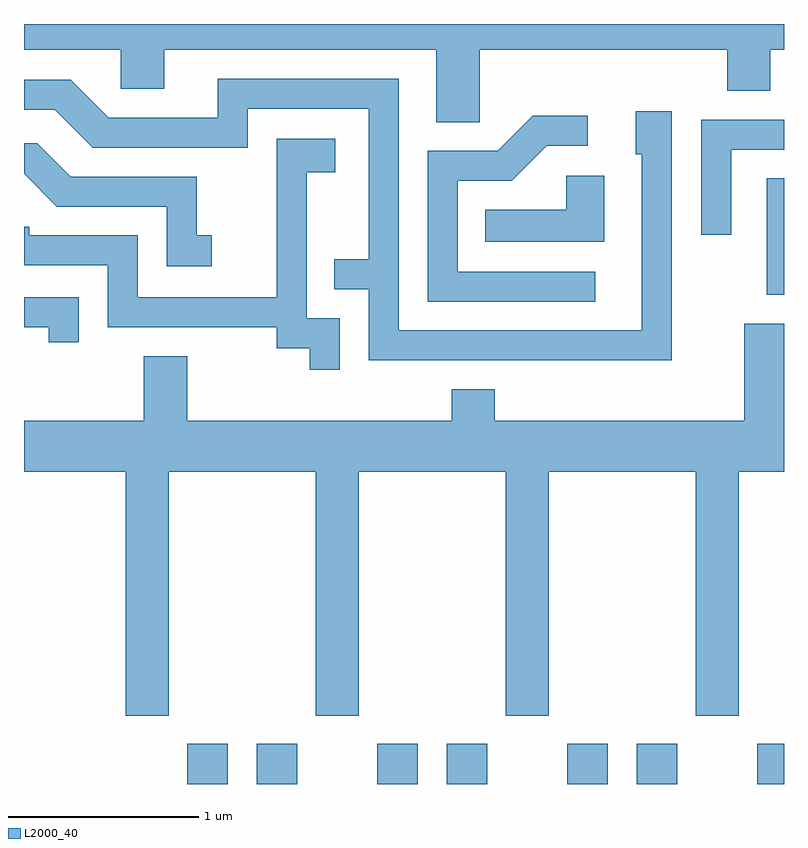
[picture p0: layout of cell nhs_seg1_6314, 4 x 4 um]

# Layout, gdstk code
import gdstk
lib = gdstk.Library(unit=1e-6, precision=1e-09)
def R(c, l, rs):  # rectangles x0, y0, x1, y1
    for r in rs: c.add(gdstk.rectangle(r[:2], r[2:], *l))
def P(c, l, *ps):  # polygons
    for p in ps: c.add(gdstk.Polygon(p, *l))
L2000_40 = (2000, 40)

nhs_seg1_6314 = lib.new_cell('nhs_seg1_6314')
R(nhs_seg1_6314, L2000_40, [(376.471,895.712,376.684,895.924), (376.836,895.712,377.049,895.924), (377.471,895.712,377.684,895.924), (377.836,895.712,378.049,895.924), (378.471,895.712,378.684,895.924), (378.836,895.712,379.049,895.924), (379.471,895.712,379.611,895.924), (379.521,898.286,379.611,898.899)])
P(nhs_seg1_6314, L2000_40, [(378.009,899.576),(379.311,899.576),(379.311,899.361),(379.539,899.361),(379.539,899.576),(379.611,899.576),(379.611,899.712),(375.611,899.712),(375.611,899.576),(376.121,899.576),(376.121,899.371),(376.349,899.371),(376.349,899.576),(377.781,899.576),(377.781,899.196),(378.009,899.196)],
  [(379.019,899.254),(378.831,899.254),(378.831,899.026),(378.861,899.026),(378.861,898.099),(377.584,898.099),(377.584,899.424),(376.631,899.424),(376.631,899.219),(376.057,899.219),(375.857,899.419),(375.611,899.419),(375.611,899.261),(375.774,899.261),(375.974,899.061),(376.789,899.061),(376.789,899.266),(377.426,899.266),(377.426,898.474),(377.243,898.474),(377.243,898.316),(377.426,898.316),(377.426,897.941),(379.019,897.941)],
  [(378.618,898.409),(377.894,898.409),(377.894,898.886),(378.177,898.886),(378.362,899.071),(378.578,899.071),(378.578,899.229),(378.289,899.229),(378.104,899.044),(377.736,899.044),(377.736,898.251),(378.618,898.251)],
  [(379.334,899.051),(379.611,899.051),(379.611,899.209),(379.176,899.209),(379.176,898.603),(379.334,898.603)],
  [(377.274,898.164),(377.099,898.164),(377.099,898.931),(377.249,898.931),(377.249,899.109),(376.941,899.109),(376.941,898.274),(376.209,898.274),(376.209,898.599),(375.639,898.599),(375.639,898.644),(375.611,898.644),(375.611,898.441),(376.051,898.441),(376.051,898.116),(376.941,898.116),(376.941,898.006),(377.116,898.006),(377.116,897.893),(377.274,897.893)],
  [(376.598,898.599),(376.519,898.599),(376.519,898.909),(375.857,898.909),(375.682,899.084),(375.611,899.084),(375.611,898.924),(375.784,898.751),(376.361,898.751),(376.361,898.436),(376.598,898.436)],
  [(378.664,898.914),(378.466,898.914),(378.466,898.734),(378.038,898.734),(378.038,898.566),(378.664,898.566)],
  [(375.899,898.274),(375.611,898.274),(375.611,898.116),(375.741,898.116),(375.741,898.038),(375.899,898.038)],
  [(376.374,897.356),(377.146,897.356),(377.146,896.071),(377.374,896.071),(377.374,897.356),(378.146,897.356),(378.146,896.071),(378.374,896.071),(378.374,897.356),(379.146,897.356),(379.146,896.071),(379.374,896.071),(379.374,897.356),(379.611,897.356),(379.611,898.134),(379.401,898.134),(379.401,897.624),(378.089,897.624),(378.089,897.789),(377.861,897.789),(377.861,897.624),(376.469,897.624),(376.469,897.964),(376.241,897.964),(376.241,897.624),(375.611,897.624),(375.611,897.356),(376.146,897.356),(376.146,896.071),(376.374,896.071)])

lib.write_gds('nhs_seg1_6314.gds')
